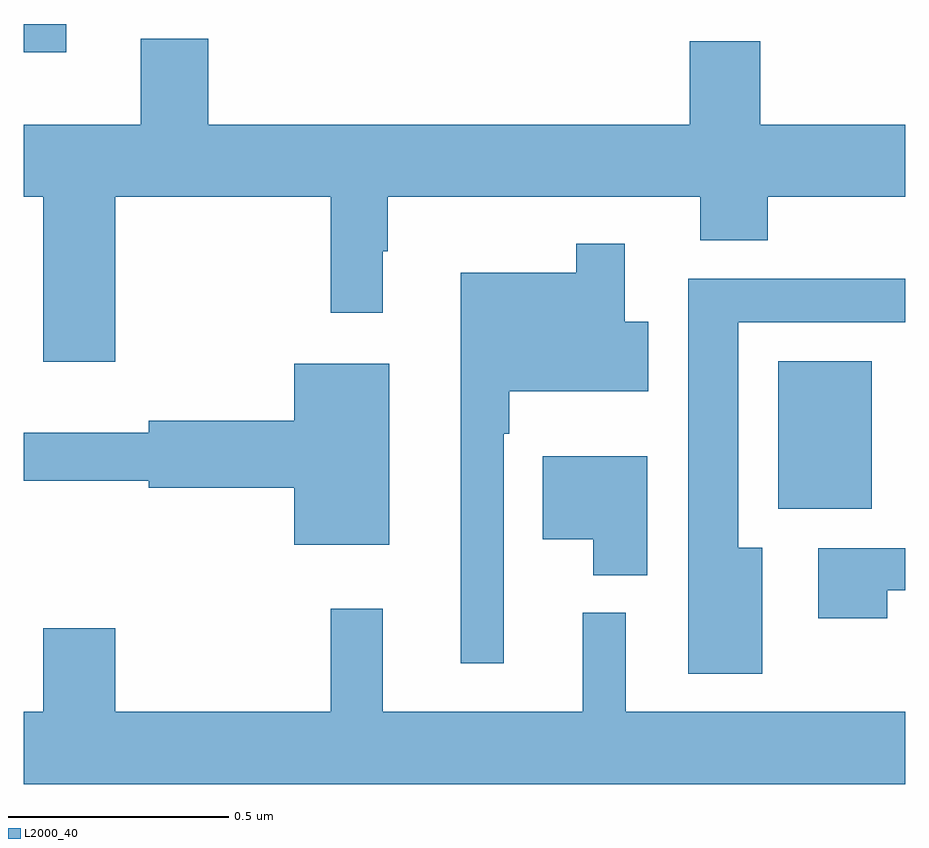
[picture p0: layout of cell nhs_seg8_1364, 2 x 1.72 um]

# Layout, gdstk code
import gdstk
lib = gdstk.Library(unit=1e-6, precision=1e-09)
def R(c, l, rs):  # rectangles x0, y0, x1, y1
    for r in rs: c.add(gdstk.rectangle(r[:2], r[2:], *l))
def P(c, l, *ps):  # polygons
    for p in ps: c.add(gdstk.Polygon(p, *l))
L2000_40 = (2000, 40)

nhs_seg8_1364 = lib.new_cell('nhs_seg8_1364')
R(nhs_seg8_1364, L2000_40, [(130.712,1107.8,130.924,1108.135), (129,1108.836,129.097,1108.9)])
P(nhs_seg8_1364, L2000_40, [(129.208,1108.508),(129.697,1108.508),(129.697,1108.245),(129.814,1108.245),(129.814,1108.385),(129.826,1108.385),(129.826,1108.508),(130.535,1108.508),(130.535,1108.409),(130.688,1108.409),(130.688,1108.508),(131,1108.508),(131,1108.672),(130.671,1108.672),(130.671,1108.861),(130.511,1108.861),(130.511,1108.672),(129.419,1108.672),(129.419,1108.867),(129.266,1108.867),(129.266,1108.672),(129,1108.672),(129,1108.508),(129.044,1108.508),(129.044,1108.134),(129.208,1108.134)],
  [(130.089,1107.971),(130.102,1107.971),(130.102,1108.067),(130.417,1108.067),(130.417,1108.225),(130.363,1108.225),(130.363,1108.402),(130.254,1108.402),(130.254,1108.336),(129.992,1108.336),(129.992,1107.45),(130.089,1107.45)],
  [(130.675,1107.712),(130.621,1107.712),(130.621,1108.224),(131,1108.224),(131,1108.322),(130.508,1108.322),(130.508,1107.426),(130.675,1107.426)],
  [(129.829,1108.129),(129.614,1108.129),(129.614,1108),(129.284,1108),(129.284,1107.973),(129,1107.973),(129,1107.864),(129.284,1107.864),(129.284,1107.848),(129.614,1107.848),(129.614,1107.719),(129.829,1107.719)],
  [(130.414,1107.919),(130.178,1107.919),(130.178,1107.731),(130.292,1107.731),(130.292,1107.65),(130.414,1107.65)],
  [(130.959,1107.615),(131,1107.615),(131,1107.711),(130.803,1107.711),(130.803,1107.552),(130.959,1107.552)],
  [(131,1107.34),(130.366,1107.34),(130.366,1107.565),(130.268,1107.565),(130.268,1107.34),(129.815,1107.34),(129.815,1107.574),(129.697,1107.574),(129.697,1107.34),(129.208,1107.34),(129.208,1107.529),(129.044,1107.529),(129.044,1107.34),(129,1107.34),(129,1107.176),(131,1107.176)])

lib.write_gds('nhs_seg8_1364.gds')
